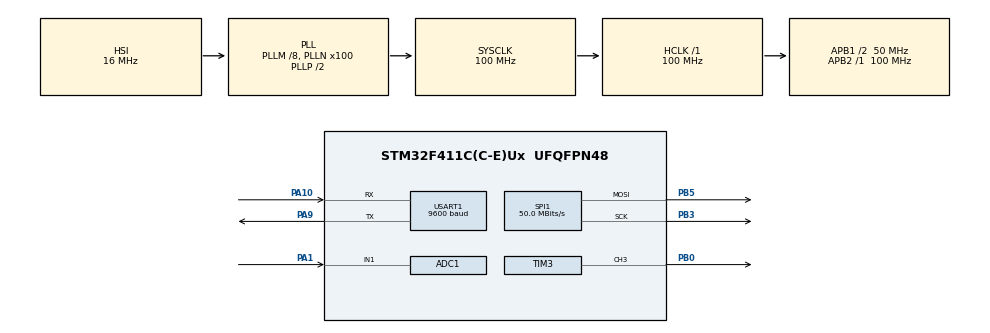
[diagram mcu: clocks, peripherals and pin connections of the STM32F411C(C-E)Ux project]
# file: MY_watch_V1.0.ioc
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ADC1.Channel-0\#ChannelRegularConversion=ADC_CHANNEL_1
ADC1.NbrOfConversionFlag=1
ADC1.Rank-0\#ChannelRegularConversion=1
ADC1.SamplingTime-0\#ChannelRegularConversion=ADC_SAMPLETIME_3CYCLES
ADC1.master=1
Dma.Request0=USART1_RX
Dma.Request1=USART1_TX
Dma.Request2=SPI1_TX
Dma.SPI1_TX.2.Direction=DMA_MEMORY_TO_PERIPH
Dma.SPI1_TX.2.FIFOMode=DMA_FIFOMODE_DISABLE
Dma.SPI1_TX.2.Instance=DMA2_Stream2
Dma.SPI1_TX.2.MemDataAlignment=DMA_MDATAALIGN_HALFWORD
Dma.SPI1_TX.2.MemInc=DMA_MINC_ENABLE
Dma.SPI1_TX.2.Mode=DMA_NORMAL
Dma.SPI1_TX.2.PeriphDataAlignment=DMA_PDATAALIGN_HALFWORD
Dma.SPI1_TX.2.PeriphInc=DMA_PINC_DISABLE
Dma.SPI1_TX.2.Priority=DMA_PRIORITY_LOW
Dma.USART1_RX.0.Direction=DMA_PERIPH_TO_MEMORY
Dma.USART1_RX.0.FIFOMode=DMA_FIFOMODE_DISABLE
Dma.USART1_RX.0.Instance=DMA2_Stream5
Dma.USART1_RX.0.MemDataAlignment=DMA_MDATAALIGN_BYTE
Dma.USART1_RX.0.MemInc=DMA_MINC_ENABLE
Dma.USART1_RX.0.Mode=DMA_NORMAL
Dma.USART1_RX.0.PeriphDataAlignment=DMA_PDATAALIGN_BYTE
Dma.USART1_RX.0.PeriphInc=DMA_PINC_DISABLE
Dma.USART1_RX.0.Priority=DMA_PRIORITY_LOW
Dma.USART1_TX.1.Direction=DMA_MEMORY_TO_PERIPH
Dma.USART1_TX.1.FIFOMode=DMA_FIFOMODE_DISABLE
Dma.USART1_TX.1.Instance=DMA2_Stream7
Dma.USART1_TX.1.MemDataAlignment=DMA_MDATAALIGN_BYTE
Dma.USART1_TX.1.MemInc=DMA_MINC_ENABLE
Dma.USART1_TX.1.Mode=DMA_NORMAL
Dma.USART1_TX.1.PeriphDataAlignment=DMA_PDATAALIGN_BYTE
Dma.USART1_TX.1.PeriphInc=DMA_PINC_DISABLE
Dma.USART1_TX.1.Priority=DMA_PRIORITY_LOW
FREERTOS.Tasks01=defaultTask,24,128,StartDefaultTask,Default,NULL,Dynamic,NULL,NULL;LvHandlerTask,8,768,LvHandler,Default,NULL,Dynamic,NULL,NULL
FREERTOS.configUSE_IDLE_HOOK=1
FREERTOS.configUSE_TICK_HOOK=1
Mcu.Family=STM32F4
Mcu.Name=STM32F411C(C-E)Ux
Mcu.Package=UFQFPN48
NVIC.DMA2_Stream2_IRQn=true\:5\:0\:false\:false\:true\:true\:false\:true\:true
NVIC.DMA2_Stream5_IRQn=true\:5\:0\:false\:false\:true\:true\:false\:true\:true
NVIC.DMA2_Stream7_IRQn=true\:5\:0\:false\:false\:true\:true\:false\:true\:true
NVIC.PriorityGroup=NVIC_PRIORITYGROUP_4
NVIC.RTC_WKUP_IRQn=true\:5\:0\:false\:false\:true\:true\:true\:true\:true
NVIC.TIM1_UP_TIM10_IRQn=true\:15\:0\:false\:false\:true\:false\:false\:true\:true
NVIC.TimeBase=TIM1_UP_TIM10_IRQn
NVIC.TimeBaseIP=TIM1
NVIC.USART1_IRQn=true\:5\:0\:false\:false\:true\:true\:true\:true\:true
PA1.Signal=ADCx_IN1
PA10.Mode=Asynchronous
PA10.Signal=USART1_RX
PA13.Mode=Serial_Wire
PA13.Signal=SYS_JTMS-SWDIO
PA14.Mode=Serial_Wire
PA14.Signal=SYS_JTCK-SWCLK
PA9.Mode=Asynchronous
PA9.Signal=USART1_TX
PB0.Signal=S_TIM3_CH3
PB3.Mode=TX_Only_Simplex_Unidirect_Master
PB3.Signal=SPI1_SCK
PB5.Mode=TX_Only_Simplex_Unidirect_Master
PB5.Signal=SPI1_MOSI
PC14-OSC32_IN.Mode=LSE-External-Oscillator
PC14-OSC32_IN.Signal=RCC_OSC32_IN
PC15-OSC32_OUT.Mode=LSE-External-Oscillator
PC15-OSC32_OUT.Signal=RCC_OSC32_OUT
ProjectManager.HeapSize=0x200
ProjectManager.StackSize=0x400
ProjectManager.TargetToolchain=MDK-ARM V5.32
RCC.48MHZClocksFreq_Value=50000000
RCC.AHBFreq_Value=100000000
RCC.APB1CLKDivider=RCC_HCLK_DIV2
RCC.APB1Freq_Value=50000000
RCC.APB1TimFreq_Value=100000000
RCC.APB2Freq_Value=100000000
RCC.APB2TimFreq_Value=100000000
RCC.CortexFreq_Value=100000000
RCC.HCLKFreq_Value=100000000
RCC.HSE_VALUE=25000000
RCC.HSI_VALUE=16000000
RCC.PLLM=8
RCC.PLLN=100
RCC.RCC_RTC_Clock_Source=RCC_RTCCLKSOURCE_LSE
RCC.RCC_RTC_Clock_SourceVirtual=RCC_RTCCLKSOURCE_LSE
RCC.SYSCLKFreq_VALUE=100000000
RCC.SYSCLKSource=RCC_SYSCLKSOURCE_PLLCLK
RCC.VCOOutputFreq_Value=200000000
RTC.Date=21
RTC.Hours=11
RTC.Minutes=59
RTC.Month=RTC_MONTH_MAY
RTC.Seconds=55
RTC.WeekDay=RTC_WEEKDAY_SUNDAY
RTC.Year=23
SH.ADCx_IN1.0=ADC1_IN1,IN1
SH.S_TIM3_CH3.0=TIM3_CH3,PWM Generation3 CH3
SPI1.CLKPhase=SPI_PHASE_2EDGE
SPI1.CLKPolarity=SPI_POLARITY_HIGH
SPI1.CalculateBaudRate=50.0 MBits/s
SPI1.Direction=SPI_DIRECTION_2LINES
SPI1.Mode=SPI_MODE_MASTER
SPI1.VirtualType=VM_MASTER
TIM3.Channel-PWM\ Generation3\ CH3=TIM_CHANNEL_3
TIM3.Period=300
TIM3.Prescaler=99
USART1.BaudRate=9600
USART1.VirtualMode=VM_ASYNC
VP_FREERTOS_VS_CMSIS_V2.Mode=CMSIS_V2
VP_RTC_VS_RTC_Activate.Mode=RTC_Enabled
VP_RTC_VS_RTC_Calendar.Mode=RTC_Calendar
VP_RTC_VS_RTC_WakeUp_intern.Mode=WakeUp
VP_SYS_VS_tim1.Mode=TIM1
board=custom

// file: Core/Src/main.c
/* USER CODE BEGIN Header */
/**
  ******************************************************************************
  * @file           : main.c
  * @brief          : Main program body
  ******************************************************************************
  * @attention
  *
  * Copyright (c) 2023 STMicroelectronics.
  * All rights reserved.
  *
  * This software is licensed under terms that can be found in the LICENSE file
  * in the root directory of this software component.
  * If no LICENSE file comes with this software, it is provided AS-IS.
  *
  ******************************************************************************
  */
/* USER CODE END Header */
#include "main.h"
#include "cmsis_os.h"
#include "adc.h"
#include "dma.h"
#include "rtc.h"
#include "spi.h"
#include "tim.h"
#include "usart.h"
#include "gpio.h"

/* USER CODE BEGIN Includes */
#include "stm32f4xx_it.h"
#include "delay.h"
#include "lcd.h"
#include "lcd_init.h"
#include "CST816.h"
#include "power.h"
#include "key.h"
#include "BL24C02.h"
#include "DataSave.h"
#include "AHT21.h"
#include "SPL06_001.h"
#include "mpu6050.h"
#include "inv_mpu.h"
#include "inv_mpu_dmp_motion_driver.h"
#include "em70x8.h"
#include "KT6328.h"

#include "user_MPUCheckTask.h"

//GUI
#include "../../lvgl.h"
#include "lv_port_disp_template.h"
#include "lv_port_indev_template.h"
#include "gui_guider.h"
#include "events_init.h"

lv_ui guider_ui;

/* USER CODE END Includes */

/* USER CODE BEGIN PV */
/*            检查硬件是否出错               */
uint8_t Sensor_LSM303_Erro=1;
uint8_t Sensor_AHT21_Erro=1;
uint8_t Sensor_SPL_Erro=1;
uint8_t Sensor_EM_Erro=1;
uint8_t Sensor_MPU_Erro=1;
/* USER CODE END PV */

void SystemClock_Config(void);
void MX_FREERTOS_Init(void);

int main(void)
{

  /* MCU Configuration--------------------------------------------------------*/

  /* Reset of all peripherals, Initializes the Flash interface and the Systick. */
  HAL_Init();

  /* Configure the system clock */
  SystemClock_Config();

  /* Initialize all configured peripherals */
  MX_GPIO_Init();
  MX_DMA_Init();
  MX_RTC_Init();
  MX_ADC1_Init();
  MX_TIM3_Init();
  MX_USART1_UART_Init();
  MX_SPI1_Init();
  /* USER CODE BEGIN 2 */

  	//RTC Wake
	if(HAL_RTCEx_SetWakeUpTimer_IT(&hrtc, 2000, RTC_WAKEUPCLOCK_RTCCLK_DIV16) != HAL_OK)
  {
    Error_Handler();
  }
  	//usart start
	HAL_UART_Receive_DMA(&huart1,(uint8_t*)HardInt_receive_str,25);
	__HAL_UART_ENABLE_IT(&huart1,UART_IT_IDLE);

    HAL_TIM_PWM_Start(&htim3,TIM_CHANNEL_3);//屏幕亮度
	delay_init();
	Power_Init();	                        //使能电源
	Key_Port_Init();    	                //key

	//sensor    初始化三次还没成功就跳过
	uint8_t num = 3;
	while(num && Sensor_AHT21_Erro)
	{
		num--;
		Sensor_AHT21_Erro = AHT_Init();         //温湿度
	}printf("Sensor_AHT21_Erro = %d\r\n",Sensor_AHT21_Erro);

	num = 3;
	while(num && Sensor_SPL_Erro)
	{
		num--;
		Sensor_SPL_Erro = SPL_init();               //气压
	}printf("Sensor_SPL_Erro = %d\r\n",Sensor_SPL_Erro);

	num = 3;
	while(num && Sensor_MPU_Erro)
	{
		num--;
		Sensor_MPU_Erro = mpu_dmp_init();           //陀螺仪
		//Sensor_MPU_Erro = MPU_Init();
	}printf("Sensor_MPU_Erro = %d\r\n",Sensor_MPU_Erro);

	num = 3;
	while(num && Sensor_EM_Erro)
	{
		num--;
		Sensor_EM_Erro = EM7028_hrs_init();           //心率
	}printf("Sensor_EM_Erro = %d\r\n",Sensor_EM_Erro);
	if(!Sensor_EM_Erro)                               //关闭心率
		EM7028_hrs_DisEnable();

	//EEPROM
	EEPROM_Init();
	if(!EEPROM_Check())
	{
		uint8_t recbuf[3];
		SettingGet(recbuf,0x10,2);
		if((recbuf[0]!=0 && recbuf[0]!=1) || (recbuf[1]!=0 && recbuf[1]!=1))//如果数据错误不是0，1
		{
			user_MPU_Wrist_EN = 1;      //陀螺仪（用于手腕）0x10
			user_APPSy_EN = 1;          //app同步时间0x11
		}
		else
		{
			user_MPU_Wrist_EN = recbuf[0];
			user_APPSy_EN = recbuf[1];
		}

		RTC_DateTypeDef nowdate;
		HAL_RTC_GetDate(&hrtc,&nowdate,RTC_FORMAT_BIN);
        printf("eeprom ok\r\n");

		SettingGet(recbuf,0x20,3);
		if(recbuf[0] == nowdate.Date)//计步数
		{
			uint16_t steps=0;
			steps = recbuf[1]&0x00ff;
			steps = steps<<8 | recbuf[2];
			if(!Sensor_MPU_Erro)
				dmp_set_pedometer_step_count((unsigned long)steps);
		}
	}
	//蓝牙
	KT6328_GPIO_Init();
	KT6328_Enable();

	//触控
	CST816_GPIO_Init();
	CST816_RESET();

    //lcd
	LCD_Init();
	LCD_Fill(0,0,LCD_W,LCD_H,BLACK);
	delay_ms(10);
	LCD_Set_Light(50);
	LCD_ShowString(72,LCD_H/2,(uint8_t*)"Welcome!",WHITE,BLACK,24,0);//12*6,16*8,24*12,32*16
	LCD_ShowString(42,LCD_H/2+48,(uint8_t*)"MY-Watch V1.0",WHITE,BLACK,24,0);
	delay_ms(1000);
	LCD_Fill(0,LCD_H/2-24,LCD_W,LCD_H/2+49,BLACK);

    //lvgl init
    lv_init();
    lv_port_disp_init();
    lv_port_indev_init();
    setup_ui(&guider_ui);
    events_init(&guider_ui);
  /* USER CODE END 2 */

  /* Init scheduler */
  osKernelInitialize();  /* Call init function for freertos objects (in freertos.c) */
  MX_FREERTOS_Init();

  /* Start scheduler */
  osKernelStart();

  /* We should never get here as control is now taken by the scheduler */
  /* Infinite loop */
  while (1)
  {

  }
}

void SystemClock_Config(void)
{
  RCC_OscInitTypeDef RCC_OscInitStruct = {0};
  RCC_ClkInitTypeDef RCC_ClkInitStruct = {0};

  /** Configure the main internal regulator output voltage
  */
  __HAL_RCC_PWR_CLK_ENABLE();
  __HAL_PWR_VOLTAGESCALING_CONFIG(PWR_REGULATOR_VOLTAGE_SCALE1);

  /** Initializes the RCC Oscillators according to the specified parameters
  * in the RCC_OscInitTypeDef structure.
  */
  RCC_OscInitStruct.OscillatorType = RCC_OSCILLATORTYPE_HSI|RCC_OSCILLATORTYPE_LSE;
  RCC_OscInitStruct.LSEState = RCC_LSE_ON;
  RCC_OscInitStruct.HSIState = RCC_HSI_ON;
  RCC_OscInitStruct.HSICalibrationValue = RCC_HSICALIBRATION_DEFAULT;
  RCC_OscInitStruct.PLL.PLLState = RCC_PLL_ON;
  RCC_OscInitStruct.PLL.PLLSource = RCC_PLLSOURCE_HSI;
  RCC_OscInitStruct.PLL.PLLM = 8;
  RCC_OscInitStruct.PLL.PLLN = 100;
  RCC_OscInitStruct.PLL.PLLP = RCC_PLLP_DIV2;
  RCC_OscInitStruct.PLL.PLLQ = 4;
  if (HAL_RCC_OscConfig(&RCC_OscInitStruct) != HAL_OK)
  {
    Error_Handler();
  }

  /** Initializes the CPU, AHB and APB buses clocks
  */
  RCC_ClkInitStruct.ClockType = RCC_CLOCKTYPE_HCLK|RCC_CLOCKTYPE_SYSCLK
                              |RCC_CLOCKTYPE_PCLK1|RCC_CLOCKTYPE_PCLK2;
  RCC_ClkInitStruct.SYSCLKSource = RCC_SYSCLKSOURCE_PLLCLK;
  RCC_ClkInitStruct.AHBCLKDivider = RCC_SYSCLK_DIV1;
  RCC_ClkInitStruct.APB1CLKDivider = RCC_HCLK_DIV2;
  RCC_ClkInitStruct.APB2CLKDivider = RCC_HCLK_DIV1;

  if (HAL_RCC_ClockConfig(&RCC_ClkInitStruct, FLASH_LATENCY_3) != HAL_OK)
  {
    Error_Handler();
  }
}

void HAL_TIM_PeriodElapsedCallback(TIM_HandleTypeDef *htim)
{
  if (htim->Instance == TIM1) {
    HAL_IncTick();
  }
}

void Error_Handler(void)
{
  __disable_irq();
  while (1)
  {
  }
}

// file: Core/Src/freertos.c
/* USER CODE BEGIN Header */
/**
  ******************************************************************************
  * File Name          : freertos.c
  * Description        : Code for freertos applications
  ******************************************************************************
  * @attention
  *
  * Copyright (c) 2023 STMicroelectronics.
  * All rights reserved.
  *
  * This software is licensed under terms that can be found in the LICENSE file
  * in the root directory of this software component.
  * If no LICENSE file comes with this software, it is provided AS-IS.
  *
  ******************************************************************************
  */
/* USER CODE END Header */

#include "FreeRTOS.h"
#include "task.h"
#include "main.h"
#include "cmsis_os.h"

/* USER CODE BEGIN Includes */

#include "user_TasksInit.h"
#include "../../lvgl.h"
#include "lcd.h"
#include "lcd_init.h"
#include "key.h"
#include "usart.h"
#include "user_ScrRenewTask.h"
/* USER CODE END Includes */

/* Definitions for defaultTask */
osThreadId_t defaultTaskHandle;
const osThreadAttr_t defaultTask_attributes = {
  .name = "defaultTask",
  .stack_size = 128 * 4,
  .priority = (osPriority_t) osPriorityNormal,
};
/* Definitions for LvHandlerTask */
osThreadId_t LvHandlerTaskHandle;
const osThreadAttr_t LvHandlerTask_attributes = {
  .name = "LvHandlerTask",
  .stack_size = 768 * 4,
  .priority = (osPriority_t) osPriorityLow,
};
/* Definitions for KEYHandlerTask */
osThreadId_t KEYTaskHandle;
const osThreadAttr_t KEYTask_attributes = {
  .name = "KEYTask",
  .stack_size = 128 * 1,
  .priority = (osPriority_t) osPriorityNormal,
};

void StartDefaultTask(void *argument);
void LvHandler(void *argument);
void KEYTask(void *argument);

void MX_FREERTOS_Init(void); /* (MISRA C 2004 rule 8.1) */

/* Hook prototypes */
void vApplicationIdleHook(void);
void vApplicationTickHook(void);

/* USER CODE BEGIN 2 */
void vApplicationIdleHook( void )
{
   /* vApplicationIdleHook() will only be called if configUSE_IDLE_HOOK is set
   to 1 in FreeRTOSConfig.h. It will be called on each iteration of the idle
   task. It is essential that code added to this hook function never attempts
   to block in any way (for example, call xQueueReceive() with a block time
   specified, or call vTaskDelay()). If the application makes use of the
   vTaskDelete() API function (as this demo application does) then it is also
   important that vApplicationIdleHook() is permitted to return to its calling
   function, because it is the responsibility of the idle task to clean up
   memory allocated by the kernel to any task that has since been deleted. */
}
/* USER CODE END 2 */

/* USER CODE BEGIN 3 */
void vApplicationTickHook( void )
{
   /* This function will be called by each tick interrupt if
   configUSE_TICK_HOOK is set to 1 in FreeRTOSConfig.h. User code can be
   added here, but the tick hook is called from an interrupt context, so
   code must not attempt to block, and only the interrupt safe FreeRTOS API
   functions can be used (those that end in FromISR()). */
    TaskTickHook();
}
/* USER CODE END 3 */

void MX_FREERTOS_Init(void) {
  /* USER CODE BEGIN Init */
    User_Tasks_Init();
  /* USER CODE END Init */
/* USER CODE BEGIN Header */
/**
  ******************************************************************************
  * File Name          : freertos.c
  * Description        : Code for freertos applications
  ******************************************************************************
  * @attention
  *
  * Copyright (c) 2023 STMicroelectronics.
  * All rights reserved.
  *
  * This software is licensed under terms that can be found in the LICENSE file
  * in the root directory of this software component.
  * If no LICENSE file comes with this software, it is provided AS-IS.
  *
  ******************************************************************************
  */
    LvHandlerTaskHandle  = osThreadNew(LvHandler, NULL, &LvHandlerTask_attributes);
    KEYTaskHandle = osThreadNew(KEYTask, NULL, &KEYTask_attributes);
    defaultTaskHandle = osThreadNew(StartDefaultTask, NULL, &defaultTask_attributes);
/* USER CODE END Header */

}

void StartDefaultTask(void *argument)
{
  for(;;)
  {
    osDelay(1);
  }
}

/* USER CODE BEGIN Header_LvHandler */
/**
* @brief LVGL服务函数，运行lvgl
* @param argument: Not used
* @retval None
*/
/* USER CODE END Header_LvHandler */
void LvHandler(void *argument)//ui保命+屏幕有动作
{
  /* USER CODE BEGIN LvHandler */
	uint8_t IdleBreakstr=0;
  while(1)
  {
		if(lv_disp_get_inactive_time(NULL)<250)
		{
			//屏幕有动作
			osMessageQueuePut(IdleBreak_MessageQueue, &IdleBreakstr, 0, 0);
		}
		lv_task_handler();
    osDelay(1);
	}

  /* USER CODE END LvHandler */
}

/* USER CODE BEGIN Application */
void KEYTask(void *argument)
{
	uint8_t keystr=0;//按键值
	uint8_t Stopstr=0;
	uint8_t IdleBreakstr=0;//有动作亮屏
	while(1)
	{
		switch(KeyScan(0))
		{
			case 1:
                keystr = 1;
				osMessageQueuePut(Key_MessageQueue, &keystr, 0, 1);     //返回键
				osMessageQueuePut(IdleBreak_MessageQueue, &IdleBreakstr, 0, 1);//有动作，屏幕亮
				break;

			case 2:
				if(ScrRenewStack.Data[ScrRenewStack.Top_Point-1] == (long long int)&setup_scr_home_page)
				{
					osMessageQueuePut(Stop_MessageQueue, &Stopstr, 0, 1);
				}
				else
				{
					keystr = 2;
					osMessageQueuePut(Key_MessageQueue, &keystr, 0, 1);         //主页
					osMessageQueuePut(IdleBreak_MessageQueue, &IdleBreakstr, 0, 1);//有动作，屏幕亮
				}
				break;
            default:    break;

		}
		osDelay(1);
	}
}

/* USER CODE END Application */
